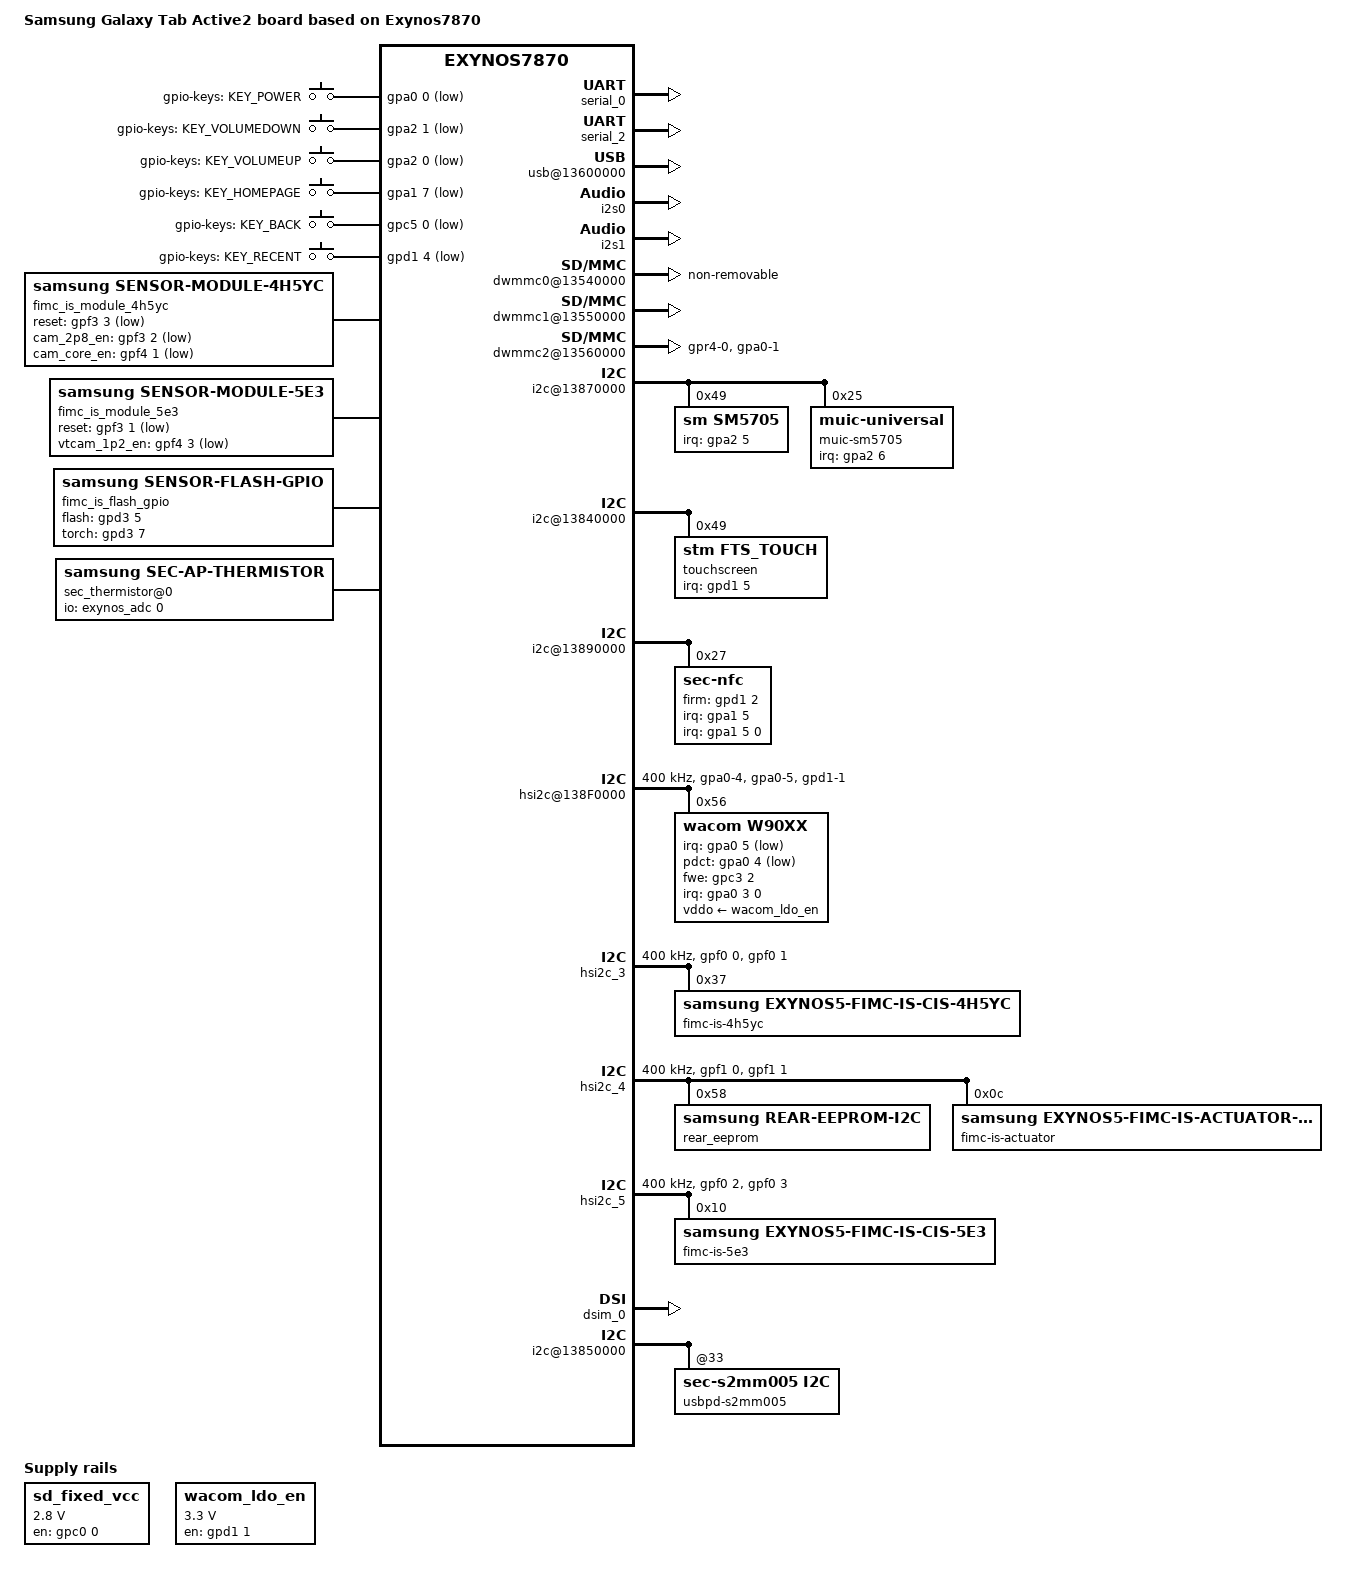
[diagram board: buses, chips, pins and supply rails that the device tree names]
/*
 * SAMSUNG UNIVERSAL8890 board device tree source
 *
 * Copyright (c) 2013 Samsung Electronics Co., Ltd.
 *		http://www.samsung.com
 *
 * This program is free software; you can redistribute it and/or modify
 * it under the terms of the GNU General Public License version 2 as
 * published by the Free Software Foundation.
*/

#include "exynos7870-rmem-3000MB-WUXGA.dtsi"
#include "exynos7870.dtsi"
#include "exynos7870-gtactive2lte-common-ccic-s2mm005_01.dtsi"

/ {
	model = "Samsung Galaxy Tab Active2 board based on Exynos7870";
	compatible = "samsung,exynos7870", "samsung,universal7870";

	ect {
		parameter_address = <0x90000000>;
		parameter_size = <0x14000>;	/* u-boot always overwrites this value. */
	};

	memory@40000000 {
		device_type = "memory";
		reg = <0x0 0x40000000 0x3D800000>;
	};

	memory@80000000 {
		device_type = "memory";
		reg = <0x0 0x80000000 0x80000000>;
	};

	chosen {
		bootargs = "console=ram ess_setup=0x46000000 androidboot.hardware=samsungexynos7870 androidboot.selinux=disabled firmware_class.path=/vendor/firmware androidboot.debug_level=0x4948 reserve-fimc=0";
		linux,initrd-start = <0x42000000>;
		linux,initrd-end = <0x420FFFFF>;
	};

	fixed-rate-clocks {
		oscclk {
			compatible = "samsung,exynos7870-oscclk";
			clock-frequency = <26000000>;
		};
	};

	reserved-memory {
		#address-cells = <2>;
		#size-cells = <1>;
		ranges;

		mfc_fw {
			compatible = "exynos5433-ion,mfc_fw";
			secure;
			reg = <0x0 0xAE800000 0x200000>;
			id = <8>;
		};

		mfc_nfw {
			compatible = "exynos5433-ion,mfc_nfw";
			reg = <0x0 0xAE600000 0x200000>;
			id = <12>;
		};
	};

	serial_0: uart@13810000 {
		status = "okay";
	};

	serial_1: uart@13800000 {
		status = "disabled";
	};

	serial_2: uart@13820000 {
		status = "okay";
	};

	usb@13600000 {
		status = "okay";

		dwc3 {
			maximum-speed = "high-speed";
			dr_mode = "otg";
			is_not_vbus_pad;
		};
	};
	usbdrd_phy: phy@135c0000 {
	/*tx_vref,tx_pre_emp,tx_pre_emp_plus,tx_res,tx_rise,tx_hsxv,tx_fsls,rx_sqrx,compdis,otg*/
	/* 0        1          2              3       4       5       6       7       8      9*/
	/* FF value means dont change from default value */
 	
		device_usbphy_hstune_parameter = [0f 03 ff 03 03 ff ff 07 ff ff];
		host_usbphy_hstune_parameter   = [05 00 ff ff ff ff ff ff 07 ff];
	};
	pinctrl_1: pinctrl@148C0000 {
		compatible = "samsung,exynos7870-pinctrl";
		reg = <0x0 0x148C0000 0x1000>;
		interrupts = <0 68 0>;
	};

	s1402x: s1402x@14880000 {
		pinctrl-names = "default", "idle";
		pinctrl-0 = <&i2s_pmic_bus
				&i2s_bt_bus>;
		pinctrl-1 = <&i2s_pmic_bus_idle
				&i2s_bt_bus_idle> ;
		bck-mcko-mode;
		status = "okay";
	};

	i2s0: i2s@148A0000 {
		status = "okay";
	};

	i2s1: i2s@148B0000 {
		status = "okay";
	};

	audio_cp_dummy: cp_dummy {
			compatible = "samsung,cp_dummy";
			status = "okay";
	};

	audio_fm_dummy: fm_dummy {
			compatible = "samsung,fm_dummy";
			status = "okay";
	};

	audio_bt_dummy: bt_dummy {
			compatible = "samsung,bt_dummy";
			status = "okay";
	};

	audio_codec_dummy: dummy-codec {
			compatible = "samsung,dummy-codec";
			status = "okay";
	};


	gpio_keys {
		compatible = "gpio-keys";
		pinctrl-names = "default";
		pinctrl-0 = <&key_power &key_voldown &key_volup &key_home &key_back &key_recent>;
		#address-cells = <1>;
		#size-cells = <0>;

		button@1 {
			label = "gpio-keys: KEY_POWER";
			interrupts = <0 0 0>;
			interrupt-parent = <&gpa0>;
			linux,code = <116>;
			gpios = <&gpa0 0 0xf>;
			gpio-key,wakeup = <1>;
		};
		button@2 {
			label = "gpio-keys: KEY_VOLUMEDOWN";
			interrupts = <1 0 0>;
			interrupt-parent = <&gpa2>;
			linux,code = <114>;
			gpios = <&gpa2 1 0xf>;
		};
		button@3 {
			label = "gpio-keys: KEY_VOLUMEUP";
			interrupts = <0 0 0>;
			interrupt-parent = <&gpa2>;
			linux,code = <115>;
			gpios = <&gpa2 0 0xf>;
		};
		button@4 {
			label = "gpio-keys: KEY_HOMEPAGE";
			interrupts = <7 0 0>;
			interrupt-parent = <&gpa1>;
			linux,code = <172>;
			gpios = <&gpa1 7 0xf>;
			gpio-key,wakeup = <1>;
		};
		button@5 {
			label = "gpio-keys: KEY_BACK";
			interrupts = <0 0 0>;
			interrupt-parent = <&gpc5>;
			linux,code = <158>;
			gpios = <&gpc5 0 0xf>;
		};
		button@6 {
			label = "gpio-keys: KEY_RECENT";
			interrupts = <4 0 0>;
			interrupt-parent = <&gpd1>;
			linux,code = <254>;
			gpios = <&gpd1 4 0xf>;
		};
	};

	dwmmc0@13540000 {
		status = "okay";
		num-slots = <1>;
		broken-cd;
		use-smu;
		fixed_voltage;
		clock-gate;
		supports-highspeed;
		mmc-ddr-1_8v;
		mmc-hs200-1_8v;
		mmc-hs400-1_8v;
		mmc-shutdown-poweroff;
		pm-skip-mmc-resume-init;
		supports-8bit;
		supports-cmd23;
		supports-erase;
		enable-ulp-mode;
		supports-hs400-enhanced-strobe;
		use-fine-tuning;
		bypass-for-allpass;
		card-init-hwacg-ctrl;
		fifo-depth = <0x40>;
		ignore-phase = <(1 << 7)>;
		non-removable;
		desc-size = <4>;
		card-detect-delay = <200>;
		data-timeout = <200>;
		clock-frequency = <800000000>;
		samsung,dw-mshc-ciu-div = <3>;
		samsung,dw-mshc-txdt-crc-timer-fastlimit = <0x34>;
		samsung,dw-mshc-txdt-crc-timer-initval = <0x38>;
		samsung,dw-mshc-ddr200-delay-line = <0x75>;
		samsung,dw-mshc-sdr-timing = <3 0 4 0>;
		samsung,dw-mshc-ddr-timing = <3 0 4 2>;
		samsung,dw-mshc-hs200-timing = <3 0 3 0>;
		samsung,dw-mshc-ddr200-timing = <1 0 4 0>;
		samsung,dw-mshc-ddr200-ulp-timing = <3 0 3 0>;

		num-ref-clks = <12>;
		ciu_clkin = <25 50 50 25 50 100 200 50 50 200 200 200>;

		/* Swapping clock drive strength */
		clk-drive-number = <6>;
		pinctrl-names = "default",
			"fast-slew-rate-1x",
			"fast-slew-rate-2x",
			"fast-slew-rate-3x",
			"fast-slew-rate-4x",
			"fast-slew-rate-5x",
			"fast-slew-rate-6x";
		pinctrl-0 = <&sd0_clk &sd0_cmd &sd0_rdqs &sd0_bus1 &sd0_bus4 &sd0_bus8>;
		pinctrl-1 = <&sd0_clk_fast_slew_rate_1x>;
		pinctrl-2 = <&sd0_clk_fast_slew_rate_2x>;
		pinctrl-3 = <&sd0_clk_fast_slew_rate_3x>;
		pinctrl-4 = <&sd0_clk_fast_slew_rate_4x>;
		pinctrl-5 = <&sd0_clk_fast_slew_rate_5x>;
		pinctrl-6 = <&sd0_clk_fast_slew_rate_6x>;
		slot@0 {
			reg = <0>;
			bus-width = <8>;
		};
	};

	dwmmc1@13550000 {
		status = "okay";
		num-slots = <1>;
		channel = <1>;
		fixed_voltage;
		clock-gate;
		enable-cclk-on-suspend;
		caps-control;
		supports-highspeed;
		supports-4bit;
		sd-uhs-sdr104;
		keep-power-in-suspend;
		pm-ignore-notify;
		card-detect-type-external;
		use-broken-voltage;
		use-fine-tuning;
		ignore-phase = <(1 << 7)>;
		fifo-depth = <0x40>;
		card-detect-delay = <200>;
		samsung,dw-mshc-ciu-div = <3>;
		samsung,dw-mshc-sdr-timing = <3 0 3 0>;
		samsung,dw-mshc-ddr-timing = <3 0 2 1>;
		samsung,dw-mshc-sdr50-timing = <3 0 4 2>;
		samsung,dw-mshc-sdr104-timing = <3 0 3 0>;
		clk_pin = "gpr2-0";
		clk_addr = "13750000.pinctrl";
		clk_val = <0x2>;
		clk_str_num = <4>;
		num-ref-clks = <9>;
		ciu_clkin = <25 50 50 25 50 100 200 50 50>;

		pinctrl-names = "default";
		pinctrl-0 = <&sd1_clk &sd1_cmd &sd1_bus1 &sd1_bus4>;
		slot@0 {
			reg = <0>;
			bus-width = <4>;
		};
	};

	dwmmc2@13560000 {
		status = "okay";
		num-slots = <1>;
		supports-highspeed;
		supports-4bit;
		supports-cmd23;
		supports-erase;
		sd-uhs-sdr50;
		sd-uhs-sdr104;
		/* card-detect-gpio; */
		clock-gate;
		bypass-smu;
		bypass-for-allpass;
		use-fine-tuning;
		card-init-hwacg-ctrl;
		only_once_tune;
		/* skip-init-mmc-scan; */
		samsung,voltage-int-extra = <0x7>;
		ignore-phase = <(1 << 7)>;
		fifo-depth = <0x40>;
		desc-size = <8>;
		card-detect-delay = <200>;
		data-timeout = <200>;
		hto-timeout = <550>;
		samsung,dw-mshc-ciu-div = <3>;
		clock-frequency = <800000000>;
		samsung,dw-mshc-sdr-timing = <3 0 3 0>;
		samsung,dw-mshc-ddr-timing = <3 0 2 1>;
		samsung,dw-mshc-sdr50-timing = <3 0 4 2>;
		samsung,dw-mshc-sdr104-timing = <3 0 3 0>;

		num-ref-clks = <9>;
		ciu_clkin = <25 50 50 25 50 100 200 50 50>;

		/* Swapping clock drive strength */
		clk-drive-number = <4>;
		pinctrl-names = "default",
			"fast-slew-rate-1x",
			"fast-slew-rate-2x",
			"fast-slew-rate-3x",
			"fast-slew-rate-4x";
		pinctrl-0 = <&sd2_clk &sd2_cmd &sd2_bus1 &sd2_bus4 &dwmmc2_cd_ext_irq>;
		pinctrl-1 = <&sd2_clk_fast_slew_rate_1x>;
		pinctrl-2 = <&sd2_clk_fast_slew_rate_2x>;
		pinctrl-3 = <&sd2_clk_fast_slew_rate_3x>;
		pinctrl-4 = <&sd2_clk_fast_slew_rate_4x>;

		/* card-detect = <&gpa0 1 0xf>; */
		/* card-detect-gpio; */
		sec-sd-slot-type = <0>; /* No detect GPIO SD slot case */

		slot@0 {
			reg = <0>;
			bus-width = <4>;
			disable-wp;
		};
	};

	pinctrl@139B0000 {
		boot_ldo: boot-ldo {
			samsung,pins = "gpc0-0";
			samsung,pin-pud = <1>;
			samsung,pin-pud-pdn = <1>;
		};
	};

	pinctrl@13750000 {	
		sd2_clk: sd2-clk {
			samsung,pins = "gpr4-0";
			samsung,pin-function = <2>;
			samsung,pin-pud = <0>;
			samsung,pin-drv = <3>;
		};
	};

	sd_fixed_vcc: fixedregulator@0 {
		compatible = "regulator-fixed";
		regulator-name = "vmmc";
		/* gpc0-0 and gpc0-2 register is switched */
		/* This is to make gpc0-2 pull-down enabled */
		/* PUD, DRV, PUDPDN: See exynos7870 UM v0.3 for more details */
		pinctrl-names = "default";
		pinctrl-0 = <&boot_ldo>;
		gpio = <&gpc0 0 1>;
		regulator-min-microvolt = <2800000>;
		regulator-max-microvolt = <2800000>;
		enable-active-high;
		regulator-initial-mode = <0>;
	};

	pinctrl@139B0000 {
		usb_id_ctr: usb-id-ctr {
			samsung,pins = "gpc6-3";
			samsung,pin-function = <1>;
			samsung,pin-pud = <0>;
			samsung,pin-drv = <0>;
		};

		mux_sel: mux-sel {
			samsung,pins = "gpc5-1";
			samsung,pin-function = <1>;
			samsung,pin-pud = <0>;
			samsung,pin-drv = <0>;
		};

		if_pmic_rstb: if-pmic-rstb {
			samsung,pins = "gpc6-2";
			samsung,pin-function = <1>;
			samsung,pin-pud = <0>;
			samsung,pin-con-pdn = <0>;
		};
	};

	pinctrl@139F0000 {

		if_irq: if-irq {
			samsung,pins = "gpa2-5";
			samsung,pin-function = <0xf>;
			samsung,pin-pud = <0>;
			samsung,pin-drv = <0>;
		};

		muic_irq: muic-irq {
			samsung,pins = "gpa2-6";
			samsung,pin-function = <0xf>;
			samsung,pin-pud = <0>;
			samsung,pin-drv = <0>;
		};
	};

	i2c@13870000 {
		status = "okay";
		samsung,i2c-max-bus-freq = <400000>;

		sm5705@49 {
			status = "okay";
			compatible = "sm,sm5705";
			reg = <0x49>; 
			pinctrl-names = "default";
			pinctrl-0 = <&if_irq &chg_en &thm_mux>;
			sm5705,irq-gpio = <&gpa2 5 0>;
			sm5705,wakeup;

			flash {
				status = "okay";
				led1 {
					ledname = "leds-sm5705-fled0";
					id = <0>;
					flash-mode-current-mA = <1000>;
					torch-mode-current-mA = <150>;
					used-gpio-control = <1>;
					flash-en-gpio = <&gpd3 5 0>;
					torch-en-gpio = <&gpd3 7 0>;
					torch_table = <30 60 90 130 180>;
				};
				led2 {
					ledname = "leds-sm5705-fled1";
					id = <1>;
					flash-mode-current-mA = <0>;
					torch-mode-current-mA = <0>;
					used-gpio-control = <0>;
				};
			};
		};

		muic-sm5705@25 {
			status = "okay";
			compatible = "muic-universal";
			reg = <0x25>;
			pinctrl-names = "default";
			pinctrl-0 = <&muic_irq>;
			muic-universal,chip_name = "sm,sm5705";
			muic-universal,irq-gpio = <&gpa2 6 0>;
			muic-universal,wakeup;
			muic,undefined_range;

			usb-id-ctr = <&gpc6 3 0>;
			mux-sel = <&gpc5 1 0>;
		};
	};

	muic {
		status = "okay";
		muic,support-list = "+OTG:GND",
					"-MHL:1K",
					"-VZW Accessory:28.7K",
					"-VZW Incompatible:34K",
					"-Smartdock:40.2K",
					"-HMT:49.9K",
					"+POGO:49.9K",
					"-Audiodock:64.9K",
					"-USB LANHUB:80.07K",
					"-Charging Cable:102K",
					"-Universal Multimedia dock:121K",
					"+Jig USB Off:255K",
					"+Jig USB On:301K",
					"-Deskdock:365K",
					"-TYPE2 Charger:442K",
					"+Jig UART Off:523K",
					"+Jig UART On:619K",
					"+TA:OPEN",
					"+USB:OPEN",
					"+CDP:OPEN",
					"+Charging POGO VB:OPEN",
					"-Undefined Charging:XXX";
	};

	i2c@13840000 {
		samsung,i2c-sda-delay = <100>;
		samsung,i2c-max-bus-freq = <400000>;
		status = "okay";
		touchscreen@49 {
			compatible = "stm,fts_touch";
			reg = <0x49>;
			pinctrl-names = "on_state", "off_state";
			pinctrl-0 = <&attn_irq>;
			pinctrl-1 = <&attn_input>;
			stm,irq_gpio = <&gpd1 5 0>;
			stm,irq_type = <8200>;
			stm,num_lines = <34 22>;		/* rx tx */
			stm,max_coords = <1599 2559>;	/* x y */
			stm,project_name = "gtactive2", "T395";
			stm,regulator_dvdd = "tsp_dvdd";
			stm,regulator_avdd = "tsp_avdd";
			stm,firmware_name = "tsp_stm/fts8cd56_gtactive2.fw";
			stm,pat_function = <2>;
			stm,afe_base = <0xE881>;
		};
	};

	pinctrl@139C0000 {
		nfc_en: nfc_en {
			samsung,pins = "gpc2-2";
			samsung,pin-function = <2>;
			samsung,pin-pud = <0>;
			samsung,pin-drv = <0>;
		};

		nfc_clk_req: nfc_clk_req {
			samsung,pins = "gpc2-3";
			samsung,pin-function = <2>;
			samsung,pin-pud = <0>;
			samsung,pin-drv = <0>;
		};
	};

	pinctrl@139B0000 {
		nfc_firm: nfc_firm {
			samsung,pins = "gpd1-2";
			samsung,pin-function = <1>;
			samsung,pin-pud = <1>;
			samsung,pin-drv = <0>;
		};

		nfc_pvdd: nfc_pvdd {
			samsung,pins = "gpc6-0";
			samsung,pin-function = <1>;
			samsung,pin-pud = <3>;
			samsung,pin-drv = <0>;
		};
	};

	i2c@13890000{
		samsung,i2c-sda-delay = <100>;
		samsung,i2c-max-bus-freq = <400000>;
		status = "okay";
		#address-cells = <1>;
		#size-cells = <0>;

		sec-nfc@27 {
			compatible = "sec-nfc";
			reg = <0x27>;
			interrupts = <5 0 0>;
			interrupt-parent = <&gpa1>;
			sec-nfc,nfc_pd = <&gpc2 2 0x2>;
			sec-nfc,firm-gpio = <&gpd1 2 0>;
			sec-nfc,irq-gpio = <&gpa1 5 0>;
			clkctrl-reg = <0x1048600C>;
			sec-nfc,nfc_clkreq = <&gpc2 3 0x2>;
			sec-nfc,pvdd_en = <&gpc6 0 1>;
			pinctrl-names = "default";
			pinctrl-0 = <&nfc_en &nfc_clk_req &nfc_firm &nfc_pvdd>;
		};
	};

	pinctrl@139B0000 {
		key_recent: key-recent {
			samsung,pins = "gpd1-4";
			samsung,pin-function = <0xf>;
			samsung,pin-pud = <0>;
			samsung,pin-drv = <0>;
		};
		key_back: key-back {
			samsung,pins = "gpc5-0";
			samsung,pin-function = <0xf>;
			samsung,pin-pud = <0>;
			samsung,pin-drv = <0>;
		};
		attn_input: attn-input {
			samsung,pins = "gpd1-5";
			samsung,pin-function = <0>;
			samsung,pin-pud = <1>;
			samsung,pin-drv = <0>;
		};
		attn_irq: attn-irq {
			samsung,pins = "gpd1-5";
			samsung,pin-function = <0xf>;
			samsung,pin-pud = <0>;
			samsung,pin-drv = <0>;
		};
		wacom_pwr_en: wacom-pwr-en {
			samsung,pins = "gpd1-1";
			samsung,pin-function = <0x1>;
			samsung,pin-pud = <0>;
			samsung,pin-drv = <0>;
		};
	};

	pinctrl@139F0000 {
		/* wacom interrupt*/
		epen_irq: epen-irq {
			samsung,pins = "gpa0-4","gpa0-5";
			samsung,pin-function = <0xf>;
			samsung,pin-pud = <0>;
			samsung,pin-drv = <0>;
		};
		epen_input: epen-input {
			samsung,pins = "gpa0-4","gpa0-5";
			samsung,pin-function = <0>;
			samsung,pin-pud = <0>;
			samsung,pin-drv = <0>;
		};
	};

	wacom_ldo_en: wacom_ldo_en {
		compatible = "regulator-fixed";
		regulator-name = "wacom_3.3v";
		regulator-min-microvolt = <3300000>;
		regulator-max-microvolt = <3300000>;
		gpio = <&gpd1 1 0>;
		enable-active-high;
		regulator-boot-on;
	};

	hsi2c@138F0000 {
		clock-frequency = <400000>;
		status = "okay";
		samsung,scl-clk-stretching;
		samsung,transfer_delay = <50>;
		pinctrl-names = "default","on_state", "off_state";
		pinctrl-0 = <&hs_i2c6_bus &epen_irq &wacom_pwr_en>;
		pinctrl-1 = <&epen_irq &wacom_pwr_en>;
		pinctrl-2 = <&epen_input>;
		wacom@56 {
			compatible = "wacom,w90xx";
			reg = <0x56>;
			interrupts = <3 0 0>;
			interrupt-parent = <&gpa0>;
			vddo-supply = <&wacom_ldo_en>;
			/* gpios */
			wacom,irq-gpio = <&gpa0 5 1>;
			wacom,pdct-gpio = <&gpa0 4 1>;
			wacom,fwe-gpio = <&gpc3 2 0>;
			wacom,irq_type = <2>;	/*IRQF_TRIGGER_FALLING*/
			/* features */
			wacom,boot_addr = <0x09>;
			wacom,origin = <0 0>; /* x y */
			wacom,max_coords = <17222 10764>;	
			wacom,max_pressure = <4095>;
			wacom,project_name = "gtactive2", "T395";
			wacom,invert = <0 1 1>; /* x y switch */
			wacom,fw_path = "epen/w9019_gtactive2.bin";
			wacom,ic_type = <9019>;
		};
	};

	pinctrl@139F0000 {
		hall_irq: hall-irq {
			samsung,pins = "gpa0-7";
			samsung,pin-function = <0xf>;
			samsung,pin-pud = <0>;
			samsung,pin-drv = <0>;
		};
	};

	hall {
		status = "okay";
		compatible = "hall";
		pinctrl-names = "default";
		pinctrl-0 = <&hall_irq>;
		hall,gpio_flip_cover = <&gpa0 7 0>;
	};

	pinctrl@139B0000 {
		cfg_gpio: cfg-gpio {
			samsung,pins = "gpc8-1", "gpc8-0";
			samsung,pin-function = <0>;
			samsung,pin-pud = <0>;
			samsung,pin-drv = <0>;
		};
	};

	pinctrl@139F0000 {
		key_power: key-power {
			samsung,pins = "gpa0-0";
			samsung,pin-function = <0xf>;
			samsung,pin-pud = <0>;
			samsung,pin-drv = <0>;
		};
		dwmmc2_cd_ext_irq: dwmmc2_cd_ext_irq {
			samsung,pins = "gpa0-1";
			samsung,pin-function = <0xf>;
			samsung,pin-pud = <0>;
			samsung,pin-drv = <0>;
		};
		key_voldown: key-voldown {
			samsung,pins = "gpa2-1";
			samsung,pin-function = <0xf>;
			samsung,pin-pud = <0>;
			samsung,pin-drv = <0>;
		};

		key_volup: key-volup {
			samsung,pins = "gpa2-0";
			samsung,pin-function = <0xf>;
			samsung,pin-pud = <0>;
			samsung,pin-drv = <0>;
		};

		key_home: key-home {
			samsung,pins = "gpa1-7";
			samsung,pin-function = <0xf>;
			samsung,pin-pud = <0>;
			samsung,pin-drv = <0>;
		};
		pmic_irq: pmic-irq {
			samsung,pins = "gpa0-2";
			samsung,pin-pud = <3>;
			samsung,pin-drv = <3>;
		};

		cod3026_irq: cod3026-irq {
			samsung,pins = "gpa2-7";
			samsung,pin-pud = <0>;
			samsung,pin-drv = <3>;
		};

		cfg_wlanhostwake: cfg-wlanhostwake {
			samsung,pins = "gpa2-2";
			samsung,pin-function = <1>;
			samsung,pin-pud = <3>;
		};

	};

	pinctrl@139E0000 {
		/* SPI_FP */
		spi1_bus_inactive: spi1-bus-inactive {
			samsung,pins = "gpc7-3", "gpc7-2", "gpc7-1", "gpc7-0";
			samsung,pin-function = <0>;
			samsung,pin-pud = <3>;
			samsung,pin-drv = <3>;
		};
		spi1_bus_active: spi1-bus-active {
			samsung,pins = "gpc7-3", "gpc7-2", "gpc7-1", "gpc7-0";
			samsung,pin-function = <2>;
			samsung,pin-pud = <3>;
			samsung,pin-drv = <3>;
		};
	};

	pinctrl@139B0000 {
		/* Warm reset information from AP */
		pm_wrsti: pm-wrsti {
			samsung,pins = "gpd1-0";
			samsung,pin-con-pdn = <3>;
		};
	};

	pinctrl@139B0000 {
		cnss_wlanen: cnss-wlanen  {       /* WLAN_EN */
			samsung,pins = "gpd3-6";
			samsung,pin-function = <1>;
			samsung,pin-pud = <0>;
			samsung,pin-drv = <3>;
			samsung,pin-con-pdn = <3>;
			samsung,pin-pud-pdn = <0>;
			samsung,pin-val = <0>;
		};
	};

	pinctrl@148C0000 {
		i2s_pmic_bus: i2s-pmic-bus {
			samsung,pins = "gpz1-0", "gpz1-2", "gpz1-3", "gpz1-4";
			samsung,pin-function = <2>;
			samsung,pin-pud = <3>;
			samsung,pin-drv = <5>;
		};
		i2s_pmic_bus_idle: i2s-pmic-bus-idle {
			samsung,pins = "gpz1-0", "gpz1-2", "gpz1-3", "gpz1-4";
			samsung,pin-function = <0>;
			samsung,pin-pud = <3>;
			samsung,pin-drv = <5>;
		};
		i2s_pmic_amp_bus: i2s-pmic-amp-bus {
			samsung,pins = "gpz1-0", "gpz1-1", "gpz1-2", "gpz1-3", "gpz1-4";
			samsung,pin-function = <2>;
			samsung,pin-pud = <3>;
			samsung,pin-drv = <5>;
		};
		i2s_pmic_amp_bus_idle: i2s-pmic-amp-bus-idle {
			samsung,pins = "gpz1-0", "gpz1-1", "gpz1-2", "gpz1-3", "gpz1-4";
			samsung,pin-function = <0>;
			samsung,pin-pud = <3>;
			samsung,pin-drv = <5>;
		};
	};

	det_zones: det_zones {
		#list-det-cells = <4>;
	};

	but_zones: but_zones {
		#list-but-cells = <3>;
	};

	sound {
		compatible = "samsung,universal7870-cod3026x";
		samsung,audio-cpu = <&i2s0      /* primary */
			&i2s0                    /* secondary */
			&audio_cp_dummy
			&audio_bt_dummy
			&audio_fm_dummy
			&i2s1			/*AMP for AP */
			&audio_cp_dummy		/*AMP for CP */
			&eax
			&eax
			&eax
			&eax>;
		samsung,audio-codec = <&audio_codec_cod3026x
			&audio_codec_cod3026x
			&audio_codec_cod3026x
			&audio_codec_dummy
			&audio_codec_cod3026x
			&audio_codec_dummy
			&audio_codec_dummy
			&audio_codec_cod3026x
			&audio_codec_cod3026x
			&audio_codec_cod3026x
			&audio_codec_cod3026x>;
		mic-bias-mode = <1 1 2 0>;
		samsung,auxdev = <&s1402x>;
		status = "okay";
	};

	ion {
		compatible = "samsung,exynos5430-ion";
	};

	tmuctrl_0: tmuctrl_CPUCL0@10130000 {
		compatible = "samsung,exynos7870-tmu";
		reg = <0x0 0x10130000 0x200>;
		interrupts = <0 435 0>;
		max_trigger_level = <8>;
		non_hw_trigger_levels = <7>;

		/* Throttling Level */
		trigger_levels_0 = <76>;
		trigger_levels_1 = <81>;
		trigger_levels_2 = <86>;
		trigger_levels_3 = <91>;
		trigger_levels_4 = <96>;
		trigger_levels_5 = <101>;
		trigger_levels_6 = <111>;
		trigger_levels_7 = <115>;

		trigger_enable_0 = <ENABLE>;
		trigger_enable_1 = <ENABLE>;
		trigger_enable_2 = <ENABLE>;
		trigger_enable_3 = <ENABLE>;
		trigger_enable_4 = <ENABLE>;
		trigger_enable_5 = <ENABLE>;
		trigger_enable_6 = <ENABLE>;
		trigger_enable_7 = <ENABLE>;

		trigger_type_0 = <THROTTLE_ACTIVE>;
		trigger_type_1 = <THROTTLE_ACTIVE>;
		trigger_type_2 = <THROTTLE_ACTIVE>;
		trigger_type_3 = <THROTTLE_ACTIVE>;
		trigger_type_4 = <THROTTLE_ACTIVE>;
		trigger_type_5 = <THROTTLE_ACTIVE>;
		trigger_type_6 = <THROTTLE_ACTIVE>;
		trigger_type_7 = <HW_TRIP>;

		freq_tab_count = <5>;

		freq_clip_max_0 = <1586000>;
		freq_clip_max_1 = <1248000>;
		freq_clip_max_2 = <1248000>;
		freq_clip_max_3 = <546000>;
		freq_clip_max_4 = <546000>;

		cooling_level_0 = <76>;
		cooling_level_1 = <81>;
		cooling_level_2 = <86>;
		cooling_level_3 = <91>;
		cooling_level_4 = <96>;
	};

	tmuctrl_1: tmuctrl_CPUCL1@10130000 {
		compatible = "samsung,exynos7870-tmu";
		reg = <0x0 0x10130000 0x200>;
		interrupts = <0 435 0>;
		max_trigger_level = <8>;
		non_hw_trigger_levels = <7>;

		/* Throttling Level */
		trigger_levels_0 = <76>;
		trigger_levels_1 = <81>;
		trigger_levels_2 = <86>;
		trigger_levels_3 = <91>;
		trigger_levels_4 = <96>;
		trigger_levels_5 = <101>;
		trigger_levels_6 = <111>;
		trigger_levels_7 = <115>;

		trigger_enable_0 = <ENABLE>;
		trigger_enable_1 = <ENABLE>;
		trigger_enable_2 = <ENABLE>;
		trigger_enable_3 = <ENABLE>;
		trigger_enable_4 = <ENABLE>;
		trigger_enable_5 = <ENABLE>;
		trigger_enable_6 = <ENABLE>;
		trigger_enable_7 = <ENABLE>;

		trigger_type_0 = <THROTTLE_ACTIVE>;
		trigger_type_1 = <THROTTLE_ACTIVE>;
		trigger_type_2 = <THROTTLE_ACTIVE>;
		trigger_type_3 = <THROTTLE_ACTIVE>;
		trigger_type_4 = <THROTTLE_ACTIVE>;
		trigger_type_5 = <THROTTLE_ACTIVE>;
		trigger_type_6 = <THROTTLE_ACTIVE>;
		trigger_type_7 = <HW_TRIP>;

		freq_tab_count = <5>;

		freq_clip_max_0 = <1586000>;
		freq_clip_max_1 = <1248000>;
		freq_clip_max_2 = <1248000>;
		freq_clip_max_3 = <546000>;
		freq_clip_max_4 = <546000>;

		cooling_level_0 = <76>;
		cooling_level_1 = <81>;
		cooling_level_2 = <86>;
		cooling_level_3 = <91>;
		cooling_level_4 = <96>;

		hotplug_enable = <1>;
		hotplug_in_threshold = <91>;
		hotplug_out_threshold = <96>;
	};

	tmuctrl_2: tmuctrl_G3D@10130000 {
		compatible = "samsung,exynos7870-tmu";
		reg = <0x0 0x10130000 0x200>;
		interrupts = <0 435 0>;
		max_trigger_level = <8>;
		non_hw_trigger_levels = <7>;

		/* Throttling Level */
		trigger_levels_0 = <76>;
		trigger_levels_1 = <81>;
		trigger_levels_2 = <86>;
		trigger_levels_3 = <91>;
		trigger_levels_4 = <96>;
		trigger_levels_5 = <101>;
		trigger_levels_6 = <111>;
		trigger_levels_7 = <115>;

		trigger_enable_0 = <ENABLE>;
		trigger_enable_1 = <ENABLE>;
		trigger_enable_2 = <ENABLE>;
		trigger_enable_3 = <ENABLE>;
		trigger_enable_4 = <ENABLE>;
		trigger_enable_5 = <ENABLE>;
		trigger_enable_6 = <ENABLE>;
		trigger_enable_7 = <ENABLE>;

		trigger_type_0 = <THROTTLE_ACTIVE>;
		trigger_type_1 = <THROTTLE_ACTIVE>;
		trigger_type_2 = <THROTTLE_ACTIVE>;
		trigger_type_3 = <THROTTLE_ACTIVE>;
		trigger_type_4 = <THROTTLE_ACTIVE>;
		trigger_type_5 = <THROTTLE_ACTIVE>;
		trigger_type_6 = <THROTTLE_ACTIVE>;
		trigger_type_7 = <HW_TRIP>;

		freq_tab_count = <6>;

		freq_clip_max_0 = <1246000>;
		freq_clip_max_1 = <1146000>;
		freq_clip_max_2 = <1001000>;
		freq_clip_max_3 = <728000>;
		freq_clip_max_4 = <343000>;
		freq_clip_max_5 = <343000>;

		cooling_level_0 = <76>;
		cooling_level_1 = <81>;
		cooling_level_2 = <86>;
		cooling_level_3 = <91>;
		cooling_level_4 = <96>;
		cooling_level_5 = <101>;

		/* gpu cooling related table */
		gpu_idx_num = <6>;
		/* flags, driver_data(index), frequency */
		gpu_cooling_table = < 0 0 1001000
				      0 1 845000
				      0 2 728000
				      0 3 545000
				      0 4 343000
				      0 5 TABLE_END>;
	};

	/* modem_interface */
	mif_pdata {
		reg = <0 0x10000 0x14>;
		pinctrl-names = "default";

		/* To do: will be remove, for system revision */
		gpios = <&gpd2 4 0x0>,
		       <&gpd2 5 0x0>,
		       <&gpd3 0 0x0>,
		       <&gpd3 1 0x0>;

		mif,ap_clk_table = <
			/* khz */
			1586000
			1482000
			1352000
			1248000
			1144000
			1014000
			902000
			839000
			757000
			676000
			546000
			449000
			345000
			>;

		mif,mif_clk_table = <
			/* khz */
			902000
			825000
			728000
			676000
			546000
			451000
			275000
			>;

		mif,int_clk_table = <
			/* khz */
			400000
			334000
			200000
			134000
			>;
	};

	fimc_is@14400000 {
		vender {
			rear_sensor_id = <24>; /* SENSOR_NAME_4H5YC */
			front_sensor_id = <17>; /* SENSOR_NAME_S5K5E3 */
			use_module_check;

			total_camera_num = <2>;
			camera_info0 {				// 0 : rear
				isp = <0>;			/* 0 : INT , 1 : EXT , 2 : SOC */
				cal_memory = <2>;		/* 0 : N , 1 : FROM , 2 : EEPROM , 3 : OTP  */
				read_version = <0>;		/* 0 : SYSFS , 1 : CAMON */

				core_voltage = <0>;		/* 0 : N , 1 : Y  */
				upgrade = <0>;			/* 0 : N , 1 : SYSFS , 2 : CAMON */
				companion = <0>;		/* 0 : N , 1 : Y  */
				ois = <0>;			/* 0 : N , 1 : Y  */
			};
			camera_info1 {				// 1 : front
				isp = <0>;			/* 0 : INT , 1 : EXT , 2 : SOC */
				cal_memory = <3>;		/* 0 : N , 1 : FROM , 2 : EEPROM , 3 : OTP  */
				read_version = <0>;		/* 0 : SYSFS , 1 : CAMON */

				core_voltage = <0>;		/* 0 : N , 1 : Y  */
				upgrade = <0>;			/* 0 : N , 1 : SYSFS , 2 : CAMON */
				companion = <0>;		/* 0 : N , 1 : Y  */
				ois = <0>;			/* 0 : N , 1 : Y  */
			};
		};

		fimc_is_dvfs {
			#define DVFS_INT_L0 400000
			#define DVFS_INT_L1 334000
			#define DVFS_INT_L2 200000
			#define DVFS_INT_L3 134000

			#define DVFS_CAM_L0 533000
			#define DVFS_CAM_L1 334000
			#define DVFS_CAM_L2 167000

			#define DVFS_MIF_L0 902000
			#define DVFS_MIF_L1 836000
			#define DVFS_MIF_L2 728000
			#define DVFS_MIF_L3 676000
			#define DVFS_MIF_L4 546000
			#define DVFS_MIF_L5 451000
			#define DVFS_MIF_L6 275000

			table0 {
				desc = "default Max version";

				default_int = <0>;
				default_cam = <DVFS_CAM_L0>;
				default_mif = <DVFS_MIF_L0>;
				default_i2c = <0>;

				front_preview_int = <0>;
				front_preview_cam = <DVFS_CAM_L1>;
				front_preview_mif = <DVFS_MIF_L0>;
				front_preview_i2c = <0>;

				front_capture_int = <0>;
				front_capture_cam = <DVFS_CAM_L1>;
				front_capture_mif = <DVFS_MIF_L0>;
				front_capture_i2c = <0>;

				front_video_int = <0>;
				front_video_cam = <DVFS_CAM_L1>;
				front_video_mif = <DVFS_MIF_L0>;
				front_video_i2c = <0>;

				front_video_whd_int = <0>;
				front_video_whd_cam = <DVFS_CAM_L1>;
				front_video_whd_mif = <DVFS_MIF_L0>;
				front_video_whd_i2c = <0>;

				front_video_capture_int = <0>;
				front_video_capture_cam = <DVFS_CAM_L1>;
				front_video_capture_mif = <DVFS_MIF_L0>;
				front_video_capture_i2c = <0>;

				front_video_whd_capture_int = <0>;
				front_video_whd_capture_cam = <DVFS_CAM_L1>;
				front_video_whd_capture_mif = <DVFS_MIF_L0>;
				front_video_whd_capture_i2c = <0>;

				front_vt1_int = <0>;
				front_vt1_cam = <DVFS_CAM_L1>;
				front_vt1_mif = <DVFS_MIF_L0>;
				front_vt1_i2c = <0>;

				front_vt2_int = <0>;
				front_vt2_cam = <DVFS_CAM_L1>;
				front_vt2_mif = <DVFS_MIF_L0>;
				front_vt2_i2c = <0>;

				front_companion_preview_int = <0>;
				front_companion_preview_cam = <DVFS_CAM_L1>;
				front_companion_preview_mif = <DVFS_MIF_L0>;
				front_companion_preview_i2c = <0>;

				front_companion_capture_int = <0>;
				front_companion_capture_cam = <DVFS_CAM_L1>;
				front_companion_capture_mif = <DVFS_MIF_L0>;
				front_companion_capture_i2c = <0>;

				front_companion_video_int = <0>;
				front_companion_video_cam = <DVFS_CAM_L1>;
				front_companion_video_mif = <DVFS_MIF_L0>;
				front_companion_video_i2c = <0>;

				front_companion_video_whd_int = <0>;
				front_companion_video_whd_cam = <DVFS_CAM_L1>;
				front_companion_video_whd_mif = <DVFS_MIF_L0>;
				front_companion_video_whd_i2c = <0>;

				front_companion_video_capture_int = <0>;
				front_companion_video_capture_cam = <DVFS_CAM_L1>;
				front_companion_video_capture_mif = <DVFS_MIF_L0>;
				front_companion_video_capture_i2c = <0>;

				front_companion_video_whd_capture_int = <0>;
				front_companion_video_whd_capture_cam = <DVFS_CAM_L1>;
				front_companion_video_whd_capture_mif = <DVFS_MIF_L0>;
				front_companion_video_whd_capture_i2c = <0>;

				rear_preview_fhd_int = <0>;
				rear_preview_fhd_cam = <DVFS_CAM_L0>;
				rear_preview_fhd_mif = <DVFS_MIF_L0>;
				rear_preview_fhd_i2c = <0>;

				rear_preview_whd_int = <0>;
				rear_preview_whd_cam = <DVFS_CAM_L0>;
				rear_preview_whd_mif = <DVFS_MIF_L0>;
				rear_preview_whd_i2c = <0>;

				rear_preview_uhd_int = <0>;
				rear_preview_uhd_cam = <DVFS_CAM_L0>;
				rear_preview_uhd_mif = <DVFS_MIF_L0>;
				rear_preview_uhd_i2c = <0>;

				rear_capture_int = <0>;
				rear_capture_cam = <DVFS_CAM_L0>;
				rear_capture_mif = <DVFS_MIF_L0>;
				rear_capture_i2c = <0>;

				rear_video_fhd_int = <0>;
				rear_video_fhd_cam = <DVFS_CAM_L0>;
				rear_video_fhd_mif = <DVFS_MIF_L0>;
				rear_video_fhd_i2c = <0>;

				rear_video_whd_int = <0>;
				rear_video_whd_cam = <DVFS_CAM_L0>;
				rear_video_whd_mif = <DVFS_MIF_L0>;
				rear_video_whd_i2c = <0>;

				rear_video_uhd_int = <0>;
				rear_video_uhd_cam = <DVFS_CAM_L0>;
				rear_video_uhd_mif = <DVFS_MIF_L0>;
				rear_video_uhd_i2c = <0>;

				rear_video_fhd_capture_int = <0>;
				rear_video_fhd_capture_cam = <DVFS_CAM_L0>;
				rear_video_fhd_capture_mif = <DVFS_MIF_L0>;
				rear_video_fhd_capture_i2c = <0>;

				rear_video_whd_capture_int = <0>;
				rear_video_whd_capture_cam = <DVFS_CAM_L0>;
				rear_video_whd_capture_mif = <DVFS_MIF_L0>;
				rear_video_whd_capture_i2c = <0>;

				rear_video_uhd_capture_int = <0>;
				rear_video_uhd_capture_cam = <DVFS_CAM_L0>;
				rear_video_uhd_capture_mif = <DVFS_MIF_L0>;
				rear_video_uhd_capture_i2c = <0>;

				dual_preview_int = <0>;
				dual_preview_cam = <DVFS_CAM_L0>;
				dual_preview_mif = <DVFS_MIF_L0>;
				dual_preview_i2c = <0>;

				dual_capture_int = <0>;
				dual_capture_cam = <DVFS_CAM_L0>;
				dual_capture_mif = <DVFS_MIF_L0>;
				dual_capture_i2c = <0>;

				dual_video_int = <0>;
				dual_video_cam = <DVFS_CAM_L0>;
				dual_video_mif = <DVFS_MIF_L0>;
				dual_video_i2c = <0>;

				dual_video_capture_int = <0>;
				dual_video_capture_cam = <DVFS_CAM_L0>;
				dual_video_capture_mif = <DVFS_MIF_L0>;
				dual_video_capture_i2c = <0>;

				preview_high_speed_fps_int = <0>;
				preview_high_speed_fps_cam = <DVFS_CAM_L0>;
				preview_high_speed_fps_mif = <DVFS_MIF_L0>;
				preview_high_speed_fps_i2c = <0>;

				video_high_speed_60fps_int = <0>;
				video_high_speed_60fps_cam = <DVFS_CAM_L0>;
				video_high_speed_60fps_mif = <DVFS_MIF_L0>;
				video_high_speed_60fps_i2c = <0>;

				video_high_speed_120fps_int = <0>;
				video_high_speed_120fps_cam = <DVFS_CAM_L0>;
				video_high_speed_120fps_mif = <DVFS_MIF_L0>;
				video_high_speed_120fps_i2c = <0>;

				video_high_speed_240fps_int = <0>;
				video_high_speed_240fps_cam = <DVFS_CAM_L0>;
				video_high_speed_240fps_mif = <DVFS_MIF_L0>;
				video_high_speed_240fps_i2c = <0>;

				max_int = <DVFS_INT_L0>;
				max_cam = <DVFS_CAM_L0>;
				max_mif = <DVFS_MIF_L0>;
				max_i2c = <0>;
			};

			table1 {
				desc = "HAL3 version";

				default_int = <0>;
				default_cam = <DVFS_CAM_L0>;
				default_mif = <DVFS_MIF_L0>;
				default_i2c = <0>;

				front_preview_int = <DVFS_INT_L1>;
				front_preview_cam = <DVFS_CAM_L1>;
				front_preview_mif = <DVFS_MIF_L0>;
				front_preview_i2c = <0>;

				front_capture_int = <0>;
				front_capture_cam = <DVFS_CAM_L1>;
				front_capture_mif = <DVFS_MIF_L0>;
				front_capture_i2c = <0>;

				front_video_int = <0>;
				front_video_cam = <DVFS_CAM_L1>;
				front_video_mif = <DVFS_MIF_L0>;
				front_video_i2c = <0>;

				front_video_whd_int = <0>;
				front_video_whd_cam = <DVFS_CAM_L1>;
				front_video_whd_mif = <DVFS_MIF_L0>;
				front_video_whd_i2c = <0>;

				front_video_capture_int = <0>;
				front_video_capture_cam = <DVFS_CAM_L1>;
				front_video_capture_mif = <DVFS_MIF_L0>;
				front_video_capture_i2c = <0>;

				front_video_whd_capture_int = <0>;
				front_video_whd_capture_cam = <DVFS_CAM_L1>;
				front_video_whd_capture_mif = <DVFS_MIF_L0>;
				front_video_whd_capture_i2c = <0>;

				front_vt1_int = <0>;
				front_vt1_cam = <DVFS_CAM_L1>;
				front_vt1_mif = <DVFS_MIF_L0>;
				front_vt1_i2c = <0>;

				front_vt2_int = <0>;
				front_vt2_cam = <DVFS_CAM_L1>;
				front_vt2_mif = <DVFS_MIF_L0>;
				front_vt2_i2c = <0>;

				front_companion_preview_int = <0>;
				front_companion_preview_cam = <DVFS_CAM_L1>;
				front_companion_preview_mif = <DVFS_MIF_L0>;
				front_companion_preview_i2c = <0>;

				front_companion_capture_int = <0>;
				front_companion_capture_cam = <DVFS_CAM_L1>;
				front_companion_capture_mif = <DVFS_MIF_L0>;
				front_companion_capture_i2c = <0>;

				front_companion_video_int = <0>;
				front_companion_video_cam = <DVFS_CAM_L1>;
				front_companion_video_mif = <DVFS_MIF_L0>;
				front_companion_video_i2c = <0>;

				front_companion_video_whd_int = <0>;
				front_companion_video_whd_cam = <DVFS_CAM_L1>;
				front_companion_video_whd_mif = <DVFS_MIF_L0>;
				front_companion_video_whd_i2c = <0>;

				front_companion_video_capture_int = <0>;
				front_companion_video_capture_cam = <DVFS_CAM_L1>;
				front_companion_video_capture_mif = <DVFS_MIF_L0>;
				front_companion_video_capture_i2c = <0>;

				front_companion_video_whd_capture_int = <0>;
				front_companion_video_whd_capture_cam = <DVFS_CAM_L1>;
				front_companion_video_whd_capture_mif = <DVFS_MIF_L0>;
				front_companion_video_whd_capture_i2c = <0>;

				rear_preview_fhd_int = <DVFS_INT_L1>;
				rear_preview_fhd_cam = <DVFS_CAM_L0>;
				rear_preview_fhd_mif = <DVFS_MIF_L0>;
				rear_preview_fhd_i2c = <0>;

				rear_preview_whd_int = <0>;
				rear_preview_whd_cam = <DVFS_CAM_L0>;
				rear_preview_whd_mif = <DVFS_MIF_L0>;
				rear_preview_whd_i2c = <0>;

				rear_preview_uhd_int = <0>;
				rear_preview_uhd_cam = <DVFS_CAM_L0>;
				rear_preview_uhd_mif = <DVFS_MIF_L0>;
				rear_preview_uhd_i2c = <0>;

				rear_capture_int = <0>;
				rear_capture_cam = <DVFS_CAM_L0>;
				rear_capture_mif = <DVFS_MIF_L0>;
				rear_capture_i2c = <0>;

				rear_video_fhd_int = <0>;
				rear_video_fhd_cam = <DVFS_CAM_L0>;
				rear_video_fhd_mif = <DVFS_MIF_L0>;
				rear_video_fhd_i2c = <0>;

				rear_video_whd_int = <0>;
				rear_video_whd_cam = <DVFS_CAM_L0>;
				rear_video_whd_mif = <DVFS_MIF_L0>;
				rear_video_whd_i2c = <0>;

				rear_video_uhd_int = <0>;
				rear_video_uhd_cam = <DVFS_CAM_L0>;
				rear_video_uhd_mif = <DVFS_MIF_L0>;
				rear_video_uhd_i2c = <0>;

				rear_video_fhd_capture_int = <0>;
				rear_video_fhd_capture_cam = <DVFS_CAM_L0>;
				rear_video_fhd_capture_mif = <DVFS_MIF_L0>;
				rear_video_fhd_capture_i2c = <0>;

				rear_video_whd_capture_int = <0>;
				rear_video_whd_capture_cam = <DVFS_CAM_L0>;
				rear_video_whd_capture_mif = <DVFS_MIF_L0>;
				rear_video_whd_capture_i2c = <0>;

				rear_video_uhd_capture_int = <0>;
				rear_video_uhd_capture_cam = <DVFS_CAM_L0>;
				rear_video_uhd_capture_mif = <DVFS_MIF_L0>;
				rear_video_uhd_capture_i2c = <0>;

				dual_preview_int = <0>;
				dual_preview_cam = <DVFS_CAM_L0>;
				dual_preview_mif = <DVFS_MIF_L0>;
				dual_preview_i2c = <0>;

				dual_capture_int = <0>;
				dual_capture_cam = <DVFS_CAM_L0>;
				dual_capture_mif = <DVFS_MIF_L0>;
				dual_capture_i2c = <0>;

				dual_video_int = <0>;
				dual_video_cam = <DVFS_CAM_L0>;
				dual_video_mif = <DVFS_MIF_L0>;
				dual_video_i2c = <0>;

				dual_video_capture_int = <0>;
				dual_video_capture_cam = <DVFS_CAM_L0>;
				dual_video_capture_mif = <DVFS_MIF_L0>;
				dual_video_capture_i2c = <0>;

				preview_high_speed_fps_int = <0>;
				preview_high_speed_fps_cam = <DVFS_CAM_L0>;
				preview_high_speed_fps_mif = <DVFS_MIF_L0>;
				preview_high_speed_fps_i2c = <0>;

				video_high_speed_60fps_int = <0>;
				video_high_speed_60fps_cam = <DVFS_CAM_L0>;
				video_high_speed_60fps_mif = <DVFS_MIF_L0>;
				video_high_speed_60fps_i2c = <0>;

				video_high_speed_120fps_int = <0>;
				video_high_speed_120fps_cam = <DVFS_CAM_L0>;
				video_high_speed_120fps_mif = <DVFS_MIF_L0>;
				video_high_speed_120fps_i2c = <0>;

				video_high_speed_240fps_int = <0>;
				video_high_speed_240fps_cam = <DVFS_CAM_L0>;
				video_high_speed_240fps_mif = <DVFS_MIF_L0>;
				video_high_speed_240fps_i2c = <0>;

				max_int = <DVFS_INT_L0>;
				max_cam = <DVFS_CAM_L0>;
				max_mif = <DVFS_MIF_L0>;
				max_i2c = <0>;
			};
		};
	};

	pinctrl@139B0000 {
		fimc_is_flash: fimc-is-flash {
			samsung,pins = "gpd3-5", "gpd3-7";
			samsung,pin-function = <1>;
			samsung,pin-pud = <0>;
			samsung,pin-drv = <0>;
		};
	};

	fimc_is_module_4h5yc: fimc-is_sensor_4h5yc@37 {
		compatible = "samsung,sensor-module-4h5yc";

		pinctrl-names = "pin0", "pin1";
		pinctrl-0 = <&fimc_is_mclk0_in &fimc_is_flash>;
		pinctrl-1 = <&fimc_is_mclk0_fn &fimc_is_flash>;

		position = <0>; /* Rear:0. Front:1 */
		id = <0>; /* sensor node id */
		mclk_ch = <0>;
		sensor_i2c_ch = <0>; /* I2C 0 */
		sensor_i2c_addr = <0x6E>;

		gpio_reset = <&gpf3 3 0x1>; /* sensor reset */
		gpio_cam_2p8_en = <&gpf3 2 0x1>; /* 8MCAM_LDO_EN pin */
		gpio_cam_core_en = <&gpf4 1 0x1>; /* 8MCAM_CORE_EN pin */

		status = "okay";

		af {
			product_name = <13>; /* ACTUATOR_NAME_DW9807 */
			i2c_addr = <0x18>;
			i2c_ch = <1>;
		};

		flash {
			product_name = <11>; /* FLASH_GPIO */
			flash_first_gpio = <2>;
			flash_second_gpio = <1>;
		};
	};

	fimc_is_module_5e3: fimc-is_sensor_5e3@10 {
		compatible = "samsung,sensor-module-5e3";

		pinctrl-names = "pin0", "pin1";
		pinctrl-0 = <&fimc_is_mclk1_in>;
		pinctrl-1 = <&fimc_is_mclk1_fn>;

		position = <1>; /* Rear:0. Front:1 */
		id = <1>; /* sensor node id */
		mclk_ch = <1>;
		sensor_i2c_ch = <1>;  /* I2C 1 */
		sensor_i2c_addr = <0x20>;

		gpio_reset = <&gpf3 1 0x1>;
		gpio_vtcam_1p2_en = <&gpf4 3 0x1>; /* VTCAM_CORE_EN pin */

		status = "okay";
	};

	fimc_is_flash_gpio: fimc-is-flash_gpio@0 {
		compatible = "samsung,sensor-flash-gpio";
		id = <0>; /* Rear  */
		status = "okay";

		flash-gpio = <&gpd3 5 0>;
		torch-gpio = <&gpd3 7 0>;
	};

	hsi2c_3: hsi2c@138A0000 {
		gpios = <&gpf0 0 0 &gpf0 1 0>;
		status = "okay";
		clock-frequency = <400000>;

		pinctrl-names = "default";
		pinctrl-0 = <&hs_i2c3_bus>;

		fimc-is-4h5yc@37 {
			compatible = "samsung,exynos5-fimc-is-cis-4h5yc";
			reg = <0x37>;
			id = <0>; /* matching sensor id */
			setfile = "setB";
		};
	};

	hsi2c_4: hsi2c@138B0000 {
		gpios = <&gpf1 0 0 &gpf1 1 0>;
		status = "okay";
		clock-frequency = <400000>;

		pinctrl-names = "default";
		pinctrl-0 = <&hs_i2c4_bus>;

		rear_eeprom@58 {
			compatible = "samsung,rear-eeprom-i2c";
			reg = <0x58>;
		};

		fimc-is-actuator@0C {
			compatible = "samsung,exynos5-fimc-is-actuator-dw9807";
			reg = <0x0C>;
			id = <0>; /* matching sensor id */
		};
	};

	hsi2c_5: hsi2c@138C0000 {
		gpios = <&gpf0 2 0 &gpf0 3 0>;
		status = "okay";
		clock-frequency = <400000>;
		samsung.tsda-su-fs = <0x3B>;

		pinctrl-names = "default";
		pinctrl-0 = <&hs_i2c5_bus>;

		fimc-is-5e3@10 {
			compatible = "samsung,exynos5-fimc-is-cis-5e3";
			reg = <0x10>;
			id = <1>; /* matching sensor id */
			fnum = <4>; /* F2_2 : fimc-is-param.h */
			setfile = "setB";
		};
	};

	#define SENSOR_SCENARIO_NORMAL		0
	#define SENSOR_SCENARIO_VISION		1
	#define SENSOR_SCENARIO_EXTERNAL	2
	#define SENSOR_SCENARIO_OIS_FACTORY	3
	#define SENSOR_SCENARIO_VIRTUAL		9
	#define FLITE_ID_NOTHING 100

	pinctrl@139B0000 {
		hrm_vdd_io_en: hrm_vdd_io_en {
			samsung,pins = "gpd4-3";
			samsung,pin-function = <1>;
			samsung,pin-pud = <1>;
			samsung,pin-val = <0>;
		};
		hrm_vdd_en: hrm_vdd_en {
			samsung,pins = "gpd2-3";
			samsung,pin-function = <1>;
			samsung,pin-pud = <1>;
			samsung,pin-val = <0>;
		};
	};

	fimc_is_sensor0: fimc_is_sensor@14420000 {
		scenario = <SENSOR_SCENARIO_NORMAL>;	/* Normal, Vision, OIS etc */
		id = <0>;
		csi_ch = <0>;
		flite_ch = <0>;
		is_bns = <1>;
		status = "okay";
	};

	fimc_is_sensor1: fimc_is_sensor@14460000 {
		scenario = <SENSOR_SCENARIO_NORMAL>;	/* Normal, Vision, OIS etc */
		id = <1>;
		csi_ch = <1>;
		flite_ch = <0>;
		is_bns = <1>;
		status = "okay";
	};

	decon_fb@14830000 {
		psr_mode = <0>; /* 0: video mode, 1: DP command mode, 2: MIPI command mode */
		trig_mode = <1>;	/* 0: hw trigger, 1: sw trigger */
		disp-pll-clk = <69000000>;
		disp-eclk = <160000000>;
		disp-vclk = <69000000>;
		disp-dvfs = <200000>;
		status = "okay";
	};

	dsim_0: dsim@14800000 {
		lcd_info = <&s6d7aa0_wxga>;
		decon_board = <&decon_board>;
		status = "okay";
	};

	decon_board: decon_board {
		gpio_buck_en = <&gpd3 4 0x1>;
		gpio_lcd_rst = <&gpd4 1 0x1>;

		dsim_set_panel_power_enable {
			type =
			"regulator,enable",	"LCD_1P8",
			"delay,usleep",	"1000 1100",
			"gpio,high",	"gpio_buck_en",
			"delay,usleep",	"1000 1100";
		};
		dsim_set_panel_power_disable {
			type =
			"delay,usleep",	"1000 1100",
			"gpio,low",	"gpio_lcd_rst",
			"delay,usleep",	"1000 1100",
			"gpio,low",	"gpio_buck_en",
			"delay,usleep",	"5000 6000",
			"regulator,disable",	"LCD_1P8";
		};
		dsim_reset_panel {
			type =
			"gpio,high",	"gpio_lcd_rst",
			"delay,usleep",	"5000 6000",
			"gpio,low",	"gpio_lcd_rst",
			"delay,usleep",	"5000 6000",
			"gpio,high",	"gpio_lcd_rst",
			"delay,usleep",	"10000 11000";
		};
	};

	s6d7aa0_wxga: s6d7aa0_wxga {
		mode = <0>; /* 0: video mode, 1: DP command mode, 2: MIPI command mode */
		resolution = <800 1280>;
		size = <107 172>;
		ddi_type = <0>;
		timing,refresh = <60>;
		/* HBP HFP HSW */
		timing,h-porch = <48 16 16>;
		/* VBP VFP VSW */
		timing,v-porch = <6 8 2>;
		timing,dsi-hs-clk = <500>;
		timing,pms = <1 77 2>;
		timing,dsi-escape-clk = <16>;
	};

	sec_thermistor@0 {
		compatible = "samsung,sec-ap-thermistor";
		status = "okay";

		adc_array = <271 282 292 303 313 324 334 344 355 365
				376 389 403 417 430 444 461 477 494 511
				528 547 565 584 603 622 643 664 685 707
				728 753 778 803 828 853 881 910 938 966
				995 1027 1059 1091 1123 1155 1192 1228 1265 1302
				1339 1379 1420 1461 1502 1543 1586 1629 1672 1715
				1759 1800 1841 1883 1924 1966 2014 2063 2112 2160
				2209 2256 2304 2351 2398 2445 2491 2537 2582 2628
				2673 2715 2757 2799 2841 2883 2922 2961 3000 3038
				3077 3113 3149 3184 3220 3256 3287 3318 3349 3380
				3411 3436 3460 3485 3509 3534 3555 3576 3598 3619
				3640>;
		temp_array = <900 890 880 870 860 850 840 830 820 810
				800 790 780 770 760 750 740 730 720 710
				700 690 680 670 660 650 640 630 620 610
				600 590 580 570 560 550 540 530 520 510
				500 490 480 470 460 450 440 430 420 410
				400 390 380 370 360 350 340 330 320 310
				300 290 280 270 260 250 240 230 220 210
				200 190 180 170 160 150 140 130 120 110
				100 90 80 70 60 50 40 30 20 10
				0 (-10) (-20) (-30) (-40) (-50) (-60) (-70) (-80) (-90)
				(-100) (-110) (-120) (-130) (-140) (-150) (-160) (-170) (-180) (-190)
				(-200)>;
		io-channels = <&exynos_adc 0>;
		io-channel-names = "adc-ap-temp";
		io-channel-ranges;
	};

	argos {
		compatible = "samsung,argos";
		#address-cells = <1>;
		boot_device@1 {
			net_boost,label="WIFI TX";
			net_boost,node="wlan0";
			net_boost,table_size = <3>;
			net_boost,table= <
				20  902000  0  902000  0 0 0 0 0
				60  1014000 0  1014000 0 0 0 0 0
				120 1352000 0  1352000 0 0 0 0 0
			>;
		};
		boot_device@2 {
			net_boost,label="P2P";
			net_boost,node="p2p-wlan0-0";
			net_boost,table_size = <3>;
			net_boost,table= <
				30 1014000 0 1014000 0 0 0 0 0
				50 1248000 0 1248000 0 0 0 0 0
				90 1352000 0 1352000 0 0 0 0 0
			>;
		};
		boot_device@3 {
			net_boost,label="IPC";
			net_boost,node="rmnet0 rmnet1 rmnet2 rmnet3 rmnet4 rmnet5 rmnet6 rmnet7 umts_dm0";
			net_boost,table_size = <4>;
			net_boost,table= <
				1 0 0 0 0 0 0 0 1
				20 0 0 839000 0 546000 100000 0 1
				50 0 0 1014000 0 836000 100000 0 1
				100 0 0 1482000 0 902000 100000 0 1
				>;
		};
                boot_device@4 {
                        net_boost,label="CLAT";
                        net_boost,node="clat clat4 v4-rmnet0 v4-rmnet1 v4-rmnet2 v4-rmnet3 v4-rmnet4 v4-rmnet5 v4-rmnet6 v4-rmnet7";
                        net_boost,table_size = <3>;
                        net_boost,table= <
                                120 1352000 0 0 0 902000 0 0 0
                                130 1482000 0 0 0 902000 0 0 0
                                150 1586000 0 0 0 902000 0 0 0
                                >;
                };
                boot_device@5 {
                        net_boost,label="USB";
                        net_boost,node="rndis0";
                        net_boost,table_size = <1>;
                        net_boost,table= <  1 0 0 0 0 0 0 0 1 >;
                };
                boot_device@6 {
                        net_boost,label="EMMC";
                        net_boost,node="";
                        net_boost,sysnode="/sys/class/mmc_host/mmc0/trans_count";
                        net_boost,table_size = <1>;
                        net_boost,table= <128 0 0 546000 0 0 400000 0 0>;
                };
		boot_device@7 {
			net_boost,label="WIFI RX";
			net_boost,node="wlan0";
			net_boost,table_size = <1>;
			net_boost,table= <				
				100 1352000 0  1352000 0 0 0 0 0
				>;
		};
        };

	sec_vib {
		compatible = "sec_vib";
		sec_vib_pdata {
			status = "okay";
			sec_vib,max_timeout = <10000>;
			sec_vib,ldo_type = <1>;		/* 0: pmic ldo, 1: external ldo */
			sec_vib,ldo_en = <&gpf4 0 0>;
		};
	};

	i2c@13850000 {
		usbpd-s2mm005@33 {
			compatible = "sec-s2mm005,i2c";
			usbpd,skip-ccic-fwupdate;
		};
	};
};
